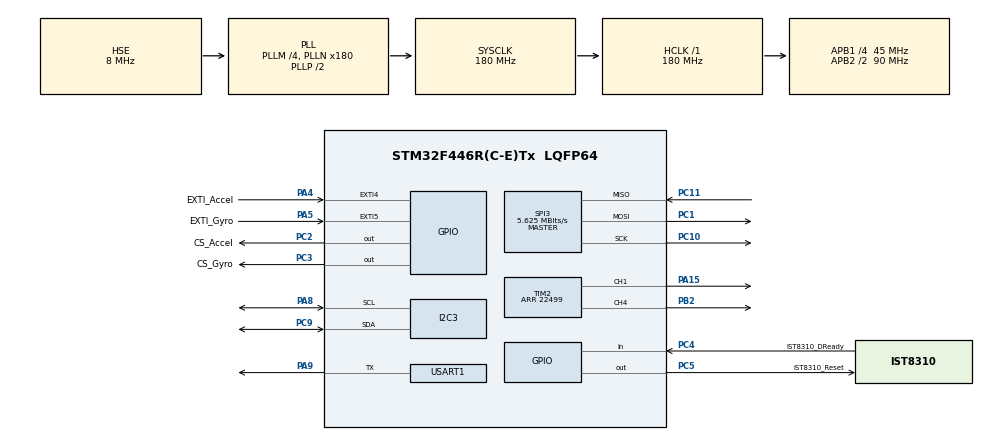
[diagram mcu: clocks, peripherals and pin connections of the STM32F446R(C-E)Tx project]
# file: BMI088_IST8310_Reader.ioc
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Dma.I2C3_RX.1.Direction=DMA_PERIPH_TO_MEMORY
Dma.I2C3_RX.1.FIFOMode=DMA_FIFOMODE_DISABLE
Dma.I2C3_RX.1.Instance=DMA1_Stream1
Dma.I2C3_RX.1.MemDataAlignment=DMA_MDATAALIGN_BYTE
Dma.I2C3_RX.1.MemInc=DMA_MINC_ENABLE
Dma.I2C3_RX.1.Mode=DMA_NORMAL
Dma.I2C3_RX.1.PeriphDataAlignment=DMA_PDATAALIGN_BYTE
Dma.I2C3_RX.1.PeriphInc=DMA_PINC_DISABLE
Dma.I2C3_RX.1.Priority=DMA_PRIORITY_LOW
Dma.I2C3_TX.2.Direction=DMA_MEMORY_TO_PERIPH
Dma.I2C3_TX.2.FIFOMode=DMA_FIFOMODE_DISABLE
Dma.I2C3_TX.2.Instance=DMA1_Stream4
Dma.I2C3_TX.2.MemDataAlignment=DMA_MDATAALIGN_BYTE
Dma.I2C3_TX.2.MemInc=DMA_MINC_ENABLE
Dma.I2C3_TX.2.Mode=DMA_NORMAL
Dma.I2C3_TX.2.PeriphDataAlignment=DMA_PDATAALIGN_BYTE
Dma.I2C3_TX.2.PeriphInc=DMA_PINC_DISABLE
Dma.I2C3_TX.2.Priority=DMA_PRIORITY_LOW
Dma.Request0=SPI3_RX
Dma.Request1=I2C3_RX
Dma.Request2=I2C3_TX
Dma.Request3=SPI3_TX
Dma.Request4=USART1_TX
Dma.SPI3_RX.0.Direction=DMA_PERIPH_TO_MEMORY
Dma.SPI3_RX.0.FIFOMode=DMA_FIFOMODE_DISABLE
Dma.SPI3_RX.0.Instance=DMA1_Stream0
Dma.SPI3_RX.0.MemDataAlignment=DMA_MDATAALIGN_BYTE
Dma.SPI3_RX.0.MemInc=DMA_MINC_ENABLE
Dma.SPI3_RX.0.Mode=DMA_NORMAL
Dma.SPI3_RX.0.PeriphDataAlignment=DMA_PDATAALIGN_BYTE
Dma.SPI3_RX.0.PeriphInc=DMA_PINC_DISABLE
Dma.SPI3_RX.0.Priority=DMA_PRIORITY_LOW
Dma.SPI3_TX.3.Direction=DMA_MEMORY_TO_PERIPH
Dma.SPI3_TX.3.FIFOMode=DMA_FIFOMODE_DISABLE
Dma.SPI3_TX.3.Instance=DMA1_Stream5
Dma.SPI3_TX.3.MemDataAlignment=DMA_MDATAALIGN_BYTE
Dma.SPI3_TX.3.MemInc=DMA_MINC_ENABLE
Dma.SPI3_TX.3.Mode=DMA_NORMAL
Dma.SPI3_TX.3.PeriphDataAlignment=DMA_PDATAALIGN_BYTE
Dma.SPI3_TX.3.PeriphInc=DMA_PINC_DISABLE
Dma.SPI3_TX.3.Priority=DMA_PRIORITY_LOW
Dma.USART1_TX.4.Direction=DMA_MEMORY_TO_PERIPH
Dma.USART1_TX.4.FIFOMode=DMA_FIFOMODE_DISABLE
Dma.USART1_TX.4.Instance=DMA2_Stream7
Dma.USART1_TX.4.MemDataAlignment=DMA_MDATAALIGN_BYTE
Dma.USART1_TX.4.MemInc=DMA_MINC_ENABLE
Dma.USART1_TX.4.Mode=DMA_NORMAL
Dma.USART1_TX.4.PeriphDataAlignment=DMA_PDATAALIGN_BYTE
Dma.USART1_TX.4.PeriphInc=DMA_PINC_DISABLE
Dma.USART1_TX.4.Priority=DMA_PRIORITY_LOW
I2C3.I2C_Mode=I2C_Fast
Mcu.Family=STM32F4
Mcu.Name=STM32F446R(C-E)Tx
Mcu.Package=LQFP64
NVIC.DMA1_Stream0_IRQn=true\:0\:0\:false\:false\:true\:false\:true\:true
NVIC.DMA1_Stream1_IRQn=true\:0\:0\:false\:false\:true\:false\:true\:true
NVIC.DMA1_Stream4_IRQn=true\:0\:0\:false\:false\:true\:false\:true\:true
NVIC.DMA1_Stream5_IRQn=true\:0\:0\:false\:false\:true\:false\:true\:true
NVIC.DMA2_Stream7_IRQn=true\:0\:0\:false\:false\:true\:false\:true\:true
NVIC.I2C3_ER_IRQn=true\:0\:0\:false\:false\:true\:true\:true\:true
NVIC.I2C3_EV_IRQn=true\:0\:0\:false\:false\:true\:true\:true\:true
NVIC.PriorityGroup=NVIC_PRIORITYGROUP_4
NVIC.SPI3_IRQn=true\:0\:0\:false\:false\:true\:true\:true\:true
NVIC.TIM6_DAC_IRQn=true\:0\:0\:false\:false\:true\:true\:true\:true
NVIC.USART1_IRQn=true\:0\:0\:false\:false\:true\:true\:true\:true
PA13.Mode=Serial_Wire
PA13.Signal=SYS_JTMS-SWDIO
PA14.Mode=Serial_Wire
PA14.Signal=SYS_JTCK-SWCLK
PA15.Signal=S_TIM2_CH1_ETR
PA4.GPIO_Label=EXTI_Accel
PA4.Signal=GPXTI4
PA5.GPIO_Label=EXTI_Gyro
PA5.Signal=GPXTI5
PA8.Mode=I2C
PA8.Signal=I2C3_SCL
PA9.Mode=Half_duplex(single_wire_mode)
PA9.Signal=USART1_TX
PB2.Signal=S_TIM2_CH4
PC1.Mode=Full_Duplex_Master
PC1.Signal=SPI3_MOSI
PC10.Mode=Full_Duplex_Master
PC10.Signal=SPI3_SCK
PC11.Mode=Full_Duplex_Master
PC11.Signal=SPI3_MISO
PC2.GPIO_Label=CS_Accel
PC2.GPIO_ModeDefaultOutputPP=GPIO_MODE_OUTPUT_OD
PC2.GPIO_PuPd=GPIO_NOPULL
PC2.PinState=GPIO_PIN_SET
PC2.Signal=GPIO_Output
PC3.GPIO_Label=CS_Gyro
PC3.GPIO_ModeDefaultOutputPP=GPIO_MODE_OUTPUT_OD
PC3.GPIO_PuPd=GPIO_NOPULL
PC3.PinState=GPIO_PIN_SET
PC3.Signal=GPIO_Output
PC4.GPIO_Label=IST8310_DReady
PC4.Signal=GPIO_Input
PC5.GPIO_Label=IST8310_Reset
PC5.GPIO_ModeDefaultOutputPP=GPIO_MODE_OUTPUT_OD
PC5.GPIO_PuPd=GPIO_NOPULL
PC5.PinState=GPIO_PIN_SET
PC5.Signal=GPIO_Output
PC9.Mode=I2C
PC9.Signal=I2C3_SDA
PH0-OSC_IN.Mode=HSE-External-Clock-Source
PH0-OSC_IN.Signal=RCC_OSC_IN
PH1-OSC_OUT.Mode=HSE-External-Clock-Source
PH1-OSC_OUT.Signal=RCC_OSC_OUT
ProjectManager.HeapSize=0x200
ProjectManager.StackSize=0x400
ProjectManager.TargetToolchain=Makefile
RCC.AHBFreq_Value=180000000
RCC.APB1CLKDivider=RCC_HCLK_DIV4
RCC.APB1Freq_Value=45000000
RCC.APB1TimFreq_Value=90000000
RCC.APB2CLKDivider=RCC_HCLK_DIV2
RCC.APB2Freq_Value=90000000
RCC.APB2TimFreq_Value=180000000
RCC.CortexFreq_Value=180000000
RCC.HCLKFreq_Value=180000000
RCC.HSE_VALUE=8000000
RCC.PLLM=4
RCC.PLLN=180
RCC.PLLSourceVirtual=RCC_PLLSOURCE_HSE
RCC.SYSCLKFreq_VALUE=180000000
RCC.SYSCLKSource=RCC_SYSCLKSOURCE_PLLCLK
RCC.USBFreq_Value=180000000
RCC.VCOOutputFreq_Value=360000000
SH.S_TIM2_CH1_ETR.0=TIM2_CH1,PWM Generation1 CH1
SH.S_TIM2_CH4.0=TIM2_CH4,PWM Generation4 CH4
SPI3.BaudRatePrescaler=SPI_BAUDRATEPRESCALER_8
SPI3.CalculateBaudRate=5.625 MBits/s
SPI3.Direction=SPI_DIRECTION_2LINES
SPI3.Mode=SPI_MODE_MASTER
SPI3.VirtualType=VM_MASTER
TIM2.AutoReloadPreload=TIM_AUTORELOAD_PRELOAD_ENABLE
TIM2.Channel-PWM\ Generation1\ CH1=TIM_CHANNEL_1
TIM2.Channel-PWM\ Generation4\ CH4=TIM_CHANNEL_4
TIM2.Period=22499
TIM2.Pulse-PWM\ Generation1\ CH1=0
TIM6.Period=4999
TIM6.Prescaler=8999
USART1.BaudRate=250000
USART1.Mode=MODE_TX
USART1.VirtualMode=VM_ASYNC
VP_TIM2_VS_ClockSourceINT.Mode=Internal
VP_TIM6_VS_ClockSourceINT.Mode=Enable_Timer
board=custom

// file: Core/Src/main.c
/* USER CODE BEGIN Header */
/**
 ******************************************************************************
 * @file           : main.c
 * @brief          : Main program body
 ******************************************************************************
 * @attention
 *
 * Copyright (c) 2024 STMicroelectronics.
 * All rights reserved.
 *
 * This software is licensed under terms that can be found in the LICENSE file
 * in the root directory of this software component.
 * If no LICENSE file comes with this software, it is provided AS-IS.
 *
 ******************************************************************************
 */
/* USER CODE END Header */
#include "main.h"
#include "dma.h"
#include "gpio.h"
#include "i2c.h"
#include "spi.h"
#include "tim.h"
#include "usart.h"

/* USER CODE BEGIN Includes */

#include <math.h>
#include <string.h>

#include "../SEML/Drivers/bsp/BMI088/bmi088driver.h"
#include "../SEML/Drivers/bsp/IST8310/ist8310driver.h"
#include "../SEML/Middlewares/Solution/AHRS/AHRS.h"
#include "../SEML/Middlewares/Solution/AHRS/Mahony/Mahony.h"
#include "strings.h"

/* USER CODE END Includes */

/* USER CODE BEGIN PV */

BMI088_Data_t BMI088;
ist8310_Handle_t ist8310;
AHRS_t AHRS;

/* USER CODE END PV */

void SystemClock_Config(void);

int main(void) {

  /* MCU Configuration--------------------------------------------------------*/

  /* Reset of all peripherals, Initializes the Flash interface and the Systick.
   */
  HAL_Init();

  /* Configure the system clock */
  SystemClock_Config();

  /* Initialize all configured peripherals */
  MX_GPIO_Init();
  MX_DMA_Init();
  MX_I2C3_Init();
  MX_SPI3_Init();
  MX_USART1_UART_Init();
  MX_TIM2_Init();
  MX_TIM6_Init();
  /* USER CODE BEGIN 2 */

  (&BMI088.CS1_Accel_handle)->GPIO_Part = CS_Accel_GPIO_Port;
  (&BMI088.CS1_Accel_handle)->GPIO_Pin = CS_Accel_Pin;
  (&BMI088.CS1_Gyro_handle)->GPIO_Part = CS_Gyro_GPIO_Port;
  (&BMI088.CS1_Gyro_handle)->GPIO_Pin = CS_Gyro_Pin;
  (&BMI088.SPI_Handle)->hspi = &hspi3;
  (&BMI088.SPI_Handle)->SPI_Receive = HAL_SPI_Receive;
  (&BMI088.SPI_Handle)->SPI_Transmit = HAL_SPI_Transmit;
  (&BMI088.SPI_Handle)->SPI_TransmitReceive = HAL_SPI_TransmitReceive;
  BMI088_Init(&BMI088);

  (&ist8310.RSTN_Pin)->GPIO_Part = IST8310_Reset_GPIO_Port;
  (&ist8310.RSTN_Pin)->GPIO_Pin = IST8310_Reset_Pin;
  (&ist8310.I2C_Handle)->hi2c = &hi2c3;
  (&ist8310.I2C_Handle)->I2C_Receive = HAL_I2C_Master_Receive;
  (&ist8310.I2C_Handle)->I2C_Transmit = HAL_I2C_Master_Transmit;
  (&ist8310.I2C_Handle)->I2C_Mem_Read = HAL_I2C_Mem_Read;
  (&ist8310.I2C_Handle)->I2C_Mem_Write = HAL_I2C_Mem_Write;
  ist8310_Init(&ist8310);

  AHRS_Init(&AHRS, 0.001f, Mahony_AHRS_Update, BMI088_Read, &BMI088,
            ist8310_read_mag, &ist8310); // 此处使用的是mahony算法解算数据
  Calibrate_IMU_Offset(&AHRS);           // 校准陀螺仪零偏

  /* USER CODE END 2 */

  /* Infinite loop */
  while (1) {

  }
}

void SystemClock_Config(void) {
  RCC_OscInitTypeDef RCC_OscInitStruct = {0};
  RCC_ClkInitTypeDef RCC_ClkInitStruct = {0};

  /** Configure the main internal regulator output voltage
   */
  __HAL_RCC_PWR_CLK_ENABLE();
  __HAL_PWR_VOLTAGESCALING_CONFIG(PWR_REGULATOR_VOLTAGE_SCALE1);

  /** Initializes the RCC Oscillators according to the specified parameters
   * in the RCC_OscInitTypeDef structure.
   */
  RCC_OscInitStruct.OscillatorType = RCC_OSCILLATORTYPE_HSE;
  RCC_OscInitStruct.HSEState = RCC_HSE_BYPASS;
  RCC_OscInitStruct.PLL.PLLState = RCC_PLL_ON;
  RCC_OscInitStruct.PLL.PLLSource = RCC_PLLSOURCE_HSE;
  RCC_OscInitStruct.PLL.PLLM = 4;
  RCC_OscInitStruct.PLL.PLLN = 180;
  RCC_OscInitStruct.PLL.PLLP = RCC_PLLP_DIV2;
  RCC_OscInitStruct.PLL.PLLQ = 2;
  RCC_OscInitStruct.PLL.PLLR = 2;
  if (HAL_RCC_OscConfig(&RCC_OscInitStruct) != HAL_OK) {
    Error_Handler();
  }

  /** Activate the Over-Drive mode
   */
  if (HAL_PWREx_EnableOverDrive() != HAL_OK) {
    Error_Handler();
  }

  /** Initializes the CPU, AHB and APB buses clocks
   */
  RCC_ClkInitStruct.ClockType = RCC_CLOCKTYPE_HCLK | RCC_CLOCKTYPE_SYSCLK |
                                RCC_CLOCKTYPE_PCLK1 | RCC_CLOCKTYPE_PCLK2;
  RCC_ClkInitStruct.SYSCLKSource = RCC_SYSCLKSOURCE_PLLCLK;
  RCC_ClkInitStruct.AHBCLKDivider = RCC_SYSCLK_DIV1;
  RCC_ClkInitStruct.APB1CLKDivider = RCC_HCLK_DIV4;
  RCC_ClkInitStruct.APB2CLKDivider = RCC_HCLK_DIV2;

  if (HAL_RCC_ClockConfig(&RCC_ClkInitStruct, FLASH_LATENCY_5) != HAL_OK) {
    Error_Handler();
  }
}

void Error_Handler(void) {
  __disable_irq();
  while (1) {
  }
}

#ifdef USE_FULL_ASSERT
/**
 * @brief  Reports the name of the source file and the source line number
 *         where the assert_param error has occurred.
 * @param  file: pointer to the source file name
 * @param  line: assert_param error line source number
 * @retval None
 */
void assert_failed(uint8_t *file, uint32_t line) {
  /* USER CODE BEGIN 6 */
  /* User can add his own implementation to report the file name and line
     number, ex: printf("Wrong parameters value: file %s on line %d\r\n", file,
     line) */
  /* USER CODE END 6 */
}
#endif /* USE_FULL_ASSERT */
